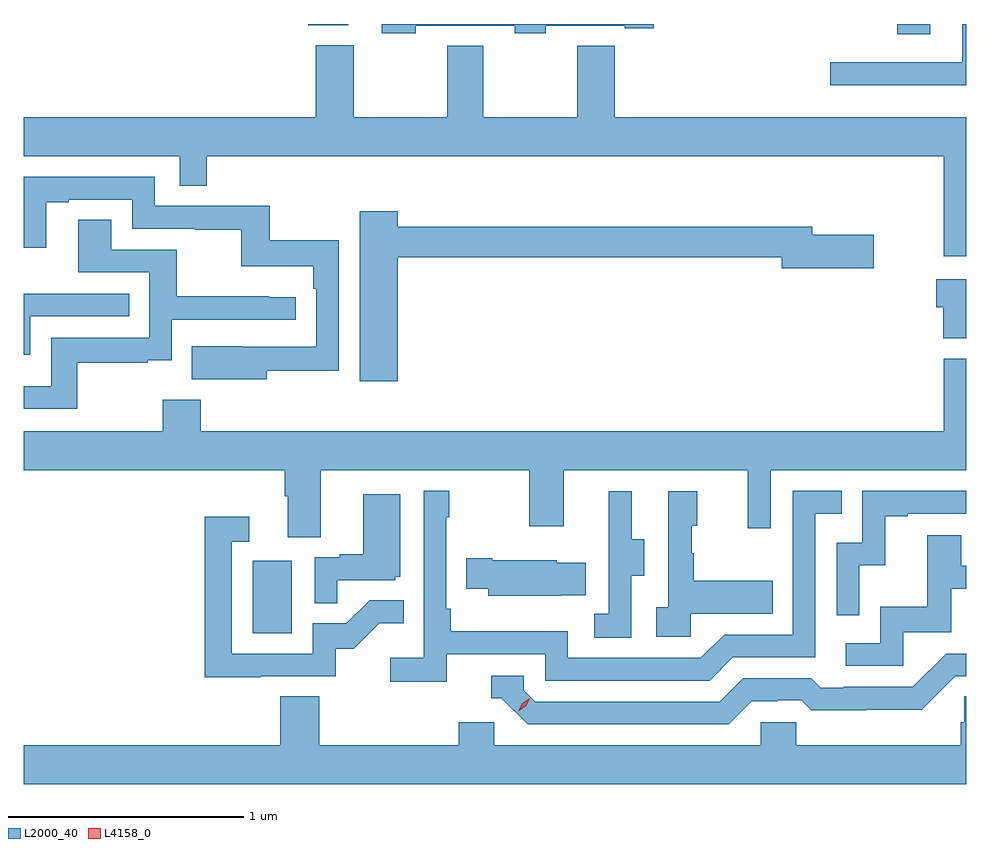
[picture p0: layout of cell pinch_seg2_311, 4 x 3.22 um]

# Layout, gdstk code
import gdstk
lib = gdstk.Library(unit=1e-6, precision=1e-09)
def R(c, l, rs):  # rectangles x0, y0, x1, y1
    for r in rs: c.add(gdstk.rectangle(r[:2], r[2:], *l))
def P(c, l, *ps):  # polygons
    for p in ps: c.add(gdstk.Polygon(p, *l))
L2000_40 = (2000, 40)
L4158_0 = (4158, 0)

pinch_seg2_311 = lib.new_cell('pinch_seg2_311')
R(pinch_seg2_311, L2000_40, [(912.794,637.62,912.958,637.927), (915.527,640.161,915.667,640.204), (913.028,640.199,913.198,640.204)])
P(pinch_seg2_311, L2000_40, [(915.821,640.204),(915.803,640.204),(915.803,640.041),(915.243,640.041),(915.243,639.944),(915.821,639.944)],
  [(913.485,640.197),(913.905,640.197),(913.905,640.165),(914.037,640.165),(914.037,640.197),(914.372,640.197),(914.372,640.185),(914.495,640.185),(914.495,640.204),(913.341,640.204),(913.341,640.165),(913.485,640.165)],
  [(915.821,639.808),(914.33,639.808),(914.33,640.112),(914.17,640.112),(914.17,639.808),(913.772,639.808),(913.772,640.112),(913.618,640.112),(913.618,639.808),(913.221,639.808),(913.221,640.114),(913.061,640.114),(913.061,639.808),(911.821,639.808),(911.821,639.644),(912.483,639.644),(912.483,639.517),(912.599,639.517),(912.599,639.644),(915.725,639.644),(915.725,639.219),(915.821,639.219)],
  [(912.853,638.734),(913.158,638.734),(913.158,639.286),(912.865,639.286),(912.865,639.432),(912.378,639.432),(912.378,639.555),(911.821,639.555),(911.821,639.254),(911.917,639.254),(911.917,639.447),(912.013,639.447),(912.013,639.459),(912.282,639.459),(912.282,639.336),(912.547,639.336),(912.547,639.331),(912.744,639.331),(912.744,639.176),(913.049,639.176),(913.049,639.08),(913.062,639.08),(913.062,638.835),(912.749,638.835),(912.749,638.836),(912.535,638.836),(912.535,638.696),(912.853,638.696)],
  [(913.408,639.214),(915.038,639.214),(915.038,639.167),(915.427,639.167),(915.427,639.309),(915.166,639.309),(915.166,639.343),(913.408,639.343),(913.408,639.409),(913.247,639.409),(913.247,638.688),(913.408,638.688)],
  [(912.049,638.766),(912.347,638.766),(912.347,638.777),(912.45,638.777),(912.45,638.949),(912.976,638.949),(912.976,639.045),(912.863,639.045),(912.863,639.05),(912.47,639.05),(912.47,639.246),(912.193,639.246),(912.193,639.374),(912.053,639.374),(912.053,639.15),(912.354,639.15),(912.354,638.874),(911.938,638.874),(911.938,638.668),(911.821,638.668),(911.821,638.571),(912.049,638.571)],
  [(915.821,639.121),(915.692,639.121),(915.692,639.003),(915.722,639.003),(915.722,638.87),(915.821,638.87)],
  [(911.85,638.964),(912.269,638.964),(912.269,639.06),(911.821,639.06),(911.821,638.801),(911.85,638.801)],
  [(913.081,638.312),(913.966,638.312),(913.966,638.073),(914.113,638.073),(914.113,638.312),(914.894,638.312),(914.894,638.064),(914.991,638.064),(914.991,638.312),(915.821,638.312),(915.821,638.785),(915.725,638.785),(915.725,638.476),(912.572,638.476),(912.572,638.611),(912.412,638.611),(912.412,638.476),(911.821,638.476),(911.821,638.312),(912.929,638.312),(912.929,638.2),(912.941,638.2),(912.941,638.026),(913.081,638.026)],
  [(913.616,637.53),(914.034,637.53),(914.034,637.419),(914.731,637.419),(914.83,637.518),(915.18,637.518),(915.18,638.127),(915.293,638.127),(915.293,638.223),(915.084,638.223),(915.084,637.614),(914.793,637.614),(914.694,637.515),(914.13,637.515),(914.13,637.627),(913.634,637.627),(913.634,637.723),(913.614,637.723),(913.614,638.111),(913.627,638.111),(913.627,638.224),(913.518,638.224),(913.518,637.516),(913.377,637.516),(913.377,637.414),(913.616,637.414)],
  [(915.366,637.907),(915.476,637.907),(915.476,638.115),(915.571,638.115),(915.571,638.127),(915.821,638.127),(915.821,638.223),(915.378,638.223),(915.378,638.004),(915.27,638.004),(915.27,637.695),(915.366,637.695)],
  [(914.652,637.703),(914.999,637.703),(914.999,637.843),(914.665,637.843),(914.665,637.958),(914.655,637.958),(914.655,638.076),(914.68,638.076),(914.68,638.221),(914.556,638.221),(914.556,637.73),(914.505,637.73),(914.505,637.605),(914.652,637.605)],
  [(914.4,637.864),(914.455,637.864),(914.455,638.019),(914.401,638.019),(914.401,638.221),(914.303,638.221),(914.303,638.007),(914.304,638.007),(914.304,637.703),(914.241,637.703),(914.241,637.6),(914.4,637.6)],
  [(913.151,637.845),(913.398,637.845),(913.398,637.86),(913.42,637.86),(913.42,638.209),(913.262,638.209),(913.262,637.954),(913.163,637.954),(913.163,637.941),(913.056,637.941),(913.056,637.747),(913.151,637.747)],
  [(912.827,637.437),(913.146,637.437),(913.146,637.554),(913.222,637.554),(913.329,637.661),(913.433,637.661),(913.433,637.76),(913.289,637.76),(913.191,637.662),(913.047,637.662),(913.047,637.533),(912.705,637.533),(912.705,638.007),(912.778,638.007),(912.778,638.113),(912.589,638.113),(912.589,637.432),(912.827,637.432)],
  [(915.552,637.623),(915.757,637.623),(915.757,637.809),(915.821,637.809),(915.821,637.905),(915.799,637.905),(915.799,638.035),(915.655,638.035),(915.655,637.732),(915.456,637.732),(915.456,637.578),(915.309,637.578),(915.309,637.482),(915.552,637.482)],
  [(914.099,637.781),(914.207,637.781),(914.207,637.918),(914.082,637.918),(914.082,637.93),(913.81,637.93),(913.81,637.938),(913.699,637.938),(913.699,637.808),(913.793,637.808),(913.793,637.778),(914.099,637.778)],
  [(914.911,637.332),(915.018,637.332),(915.018,637.335),(915.121,637.335),(915.163,637.293),(915.396,637.293),(915.396,637.295),(915.632,637.295),(915.774,637.437),(915.821,637.437),(915.821,637.533),(915.735,637.533),(915.594,637.392),(915.301,637.392),(915.301,637.389),(915.202,637.389),(915.163,637.428),(914.874,637.428),(914.775,637.329),(913.992,637.329),(913.944,637.377),(913.944,637.44),(913.805,637.44),(913.805,637.344),(913.848,637.344),(913.959,637.233),(914.812,637.233)],
  [(915.821,637.352),(915.811,637.352),(915.811,637.242),(915.797,637.242),(915.797,637.144),(915.099,637.144),(915.099,637.242),(914.949,637.242),(914.949,637.144),(913.818,637.144),(913.818,637.242),(913.667,637.242),(913.667,637.144),(913.076,637.144),(913.076,637.352),(912.911,637.352),(912.911,637.144),(911.821,637.144),(911.821,636.98),(915.821,636.98)])
P(pinch_seg2_311, L4158_0, [(913.921,637.291),(913.921,637.291),(913.937,637.323),(913.968,637.343),(913.968,637.343),(913.968,637.342),(913.952,637.31),(913.921,637.291)])

lib.write_gds('pinch_seg2_311.gds')
